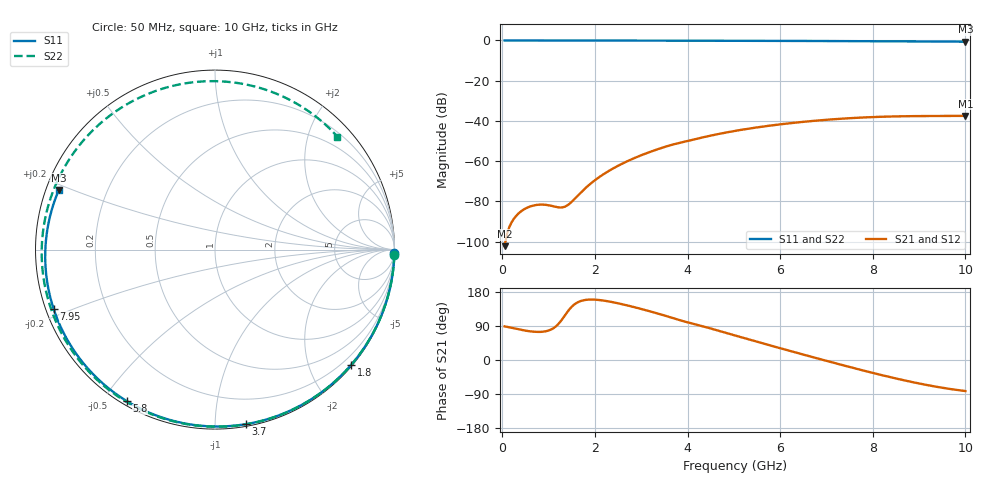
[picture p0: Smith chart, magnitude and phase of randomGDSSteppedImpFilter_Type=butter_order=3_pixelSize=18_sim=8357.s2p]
! freq	dB(S11)	phase(S11)	dB(S12)	phase(S12)
!  dB(S21)	phase(S21)	dB(S22)	phase(S22)
!S-par simulation data
#  GHz  S  DB  R 50
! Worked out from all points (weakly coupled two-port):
!   200 points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, 50 MHz to 10 GHz, reference 50 ohm
!   highest |S21| = -37.48 dB at 10 GHz (marker M1); lowest = -102.2 dB at 50 MHz (marker M2)
!   lowest |S11| = -0.6 dB at 10 GHz (marker M3), VSWR 28.17, Z = 1.84 + j9.19 ohm
!   |S11| at or under -10 dB: nowhere
!   |S22| runs from -0.6 to 0.0 dB; largest |S21 - S12| = 0
!   S11 on the Smith chart (normalised r, x): 50 MHz: open; 1.8 GHz: 0.02, -2.72; 3.7 GHz: 0.01, -1.19; 5.8 GHz: 0.02, -0.58; 7.95 GHz: 0.02, -0.18; 10 GHz: 0.04, +0.18
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0.05  -0.00 -1.2  -102.22 88.8  -102.22 88.8  -0.00 -1.6
0.75  -0.02 -17.1  -81.70 74.2  -81.70 74.2  -0.03 -23.6
1.5  -0.04 -33.8  -80.13 140.5  -80.13 140.5  -0.06 -46.7
1.75  -0.05 -39.3  -74.35 157.5  -74.35 157.5  -0.07 -54.3
1.8  -0.05 -40.4  -73.28 158.6  -73.28 158.6  -0.07 -55.8
2.1  -0.06 -46.9  -67.79 158.2  -67.79 158.2  -0.08 -64.7
2.45  -0.07 -54.3  -62.88 150.9  -62.88 150.9  -0.09 -75.0
2.9  -0.08 -63.8  -57.99 137.9  -57.99 137.9  -0.11 -87.9
3.4  -0.10 -74.0  -53.71 121.1  -53.71 121.1  -0.13 -102.1
3.7  -0.11 -80.1  -51.62 109.9  -51.62 109.9  -0.15 -110.5
4.35  -0.13 -92.8  -48.05 88.3  -48.05 88.3  -0.18 -128.5
5.05  -0.16 -106.2  -44.84 63.9  -44.84 63.9  -0.22 -148.0
5.8  -0.20 -120.2  -42.26 37.9  -42.26 37.9  -0.28 -169.4
6.25  -0.23 -128.5  -41.03 22.7  -41.03 22.7  -0.31 177.4
6.7  -0.26 -136.7  -40.00 7.7  -40.00 7.7  -0.35 163.6
7.3  -0.31 -147.7  -38.91 -12.0  -38.91 -12.0  -0.41 144.2
7.95  -0.37 -159.8  -38.11 -32.5  -38.11 -32.5  -0.47 121.8
8.35  -0.42 -167.4  -37.81 -44.5  -37.81 -44.5  -0.51 107.2
8.75  -0.46 -175.1  -37.63 -55.6  -37.63 -55.6  -0.55 92.0
9.15  -0.51 176.9  -37.55 -65.6  -37.55 -65.6  -0.58 76.4
9.55  -0.56 168.7  -37.52 -74.2  -37.52 -74.2  -0.61 60.6
10  -0.62 159.1  -37.48 -81.9  -37.48 -81.9  -0.65 42.7
